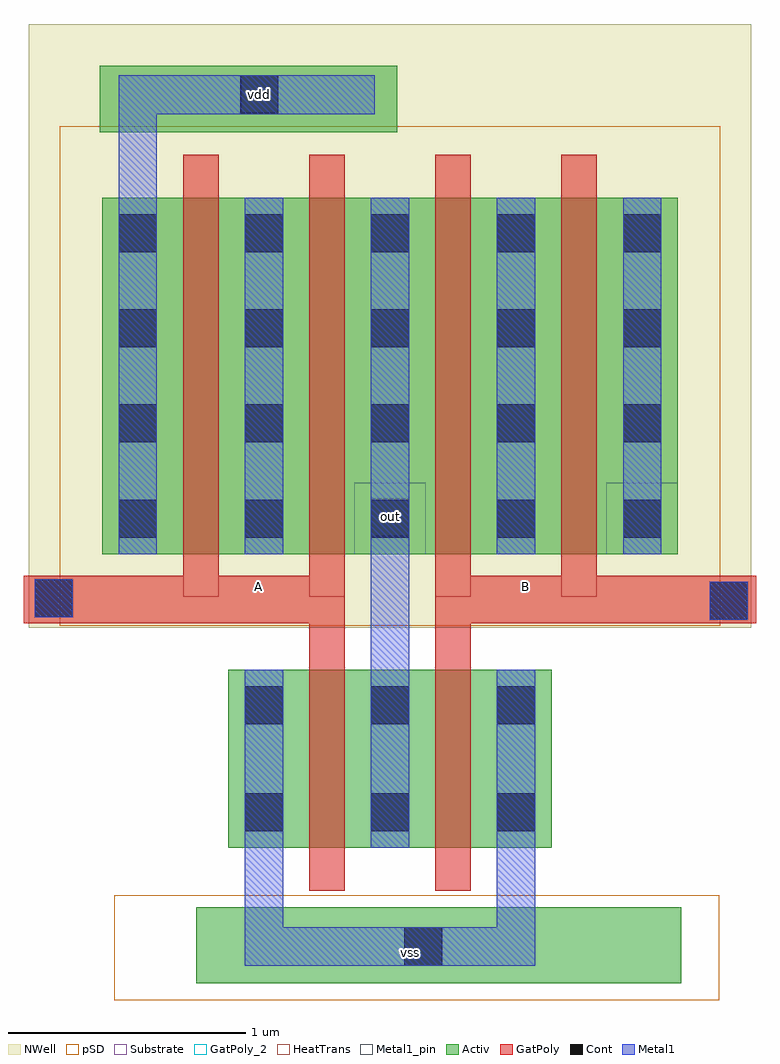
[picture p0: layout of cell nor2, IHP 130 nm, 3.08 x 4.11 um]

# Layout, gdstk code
import gdstk
lib = gdstk.Library(unit=1e-6, precision=5e-09)
def R(c, l, rs):  # rectangles x0, y0, x1, y1
    for r in rs: c.add(gdstk.rectangle(r[:2], r[2:], *l))
def A(c, l, x, y, w, h, nx, ny, dx, dy):  # array of equal rectangles
    R(c, l, [(x+i*dx, y+j*dy, x+i*dx+w, y+j*dy+h) for i in range(nx) for j in range(ny)])
Activ = (1, 0)
GatPoly = (5, 0)
GatPoly_2 = (5, 2)
Cont = (6, 0)
Metal1 = (8, 0)
Metal1_pin = (8, 2)
pSD = (14, 0)
NWell = (31, 0)
Substrate = (40, 0)
HeatTrans = (51, 0)

nmos_2 = lib.new_cell('nmos$2')
R(nmos_2, Activ, [(0,0,0.3,0.3), (0,0,0.83,0.75), (0.53,0,0.83,0.3)])
R(nmos_2, GatPoly, [(0.34,-0.18,0.49,0.93)])
R(nmos_2, GatPoly_2, [(0.34,-0.18,0.49,0.93)])
R(nmos_2, Cont, [(0.07,0.07,0.23,0.23), (0.6,0.07,0.76,0.23), (0.07,0.52,0.23,0.68), (0.6,0.52,0.76,0.68)])
R(nmos_2, Metal1, [(0.07,0,0.23,0.75), (0.6,0,0.76,0.75)])
R(nmos_2, Metal1_pin, [(0.07,0,0.23,0.75), (0.6,0,0.76,0.75)])
R(nmos_2, HeatTrans, [(0.34,-0.18,0.49,0.93)])
nmos_2.add(gdstk.Label('nmos', (0.415,0.375), layer=63, texttype=0))
nmos_2.add(gdstk.Label('nmos', (0.415,0.375), layer=51, texttype=0))

pmos = lib.new_cell('pmos')
A(pmos, Activ, 0, 0, 0.3, 0.3, 3, 1, 0.53, 0)
R(pmos, Activ, [(0,0,1.36,1.5)])
R(pmos, GatPoly, [(0.34,-0.18,0.49,1.68), (0.34,-0.18,0.49,1.68), (0.87,-0.18,1.02,1.68)])
A(pmos, Cont, 0.07, 0.07, 0.16, 0.16, 3, 4, 0.53, 0.4)
R(pmos, Metal1, [(0.07,0,0.23,1.5), (0.07,0,0.23,1.5), (0.6,0,0.76,1.5), (0.6,0,0.76,1.5), (1.13,0,1.29,1.5)])
R(pmos, pSD, [(-0.18,-0.3,1.54,1.8)])
R(pmos, NWell, [(-0.31,-0.31,1.67,1.81)])
R(pmos, Substrate, [(1.06,0,1.36,0.3)])
R(pmos, HeatTrans, [(0.34,-0.18,0.49,1.68), (0.87,-0.18,1.02,1.68)])
pmos.add(gdstk.Label('pmos', (0.415,0.75), layer=63, texttype=0))
pmos.add(gdstk.Label('pmos', (0.415,0.75), layer=51, texttype=0))
pmos.add(gdstk.Label('pmos', (0.945,0.75), layer=51, texttype=0))

nor2 = lib.new_cell('nor2')
R(nor2, Activ, [(-1.685,0.36,0.355,0.68), (-2.09,3.94,-0.84,4.22)])
R(nor2, GatPoly, [(-1.21,1.86,-1.06,2.13), (-0.68,1.86,-0.53,2.13), (-2.41,1.875,-1.21,2.075), (-0.68,1.875,0.67,2.075)])
R(nor2, Cont, [(-0.81,0.435,-0.65,0.595), (0.475,1.89,0.635,2.05), (-2.365,1.9,-2.205,2.06), (-1.5,4.02,-1.34,4.18)])
R(nor2, Metal1, [(-1.48,0.435,-1.32,1.16), (-1.48,0.435,-0.26,0.595), (-0.81,0.435,-0.65,0.595), (-0.42,0.435,-0.26,1.16), (-0.95,1.445,-0.79,2.39), (0.475,1.89,0.635,2.05), (-2.365,1.9,-2.205,2.06), (-2.01,3.44,-1.85,4.18), (-2.005,4.015,-0.935,4.18), (-1.5,4.02,-1.345,4.18)])
R(nor2, Metal1_pin, [(-0.81,0.435,-0.65,0.595), (0.475,1.89,0.635,2.05), (-2.365,1.9,-2.205,2.06), (-0.95,2.24,-0.79,2.4), (-1.495,4.02,-1.34,4.18)])
R(nor2, pSD, [(-2.03,0.29,0.515,0.73)])
R(nor2, NWell, [(-2.39,3.975,0.65,4.395)])
nor2.add(gdstk.Reference(nmos_2, (-1.02,0.93)))
nor2.add(gdstk.Reference(nmos_2, (-1.55,0.93)))
nor2.add(gdstk.Reference(pmos, (-2.08,2.165)))
nor2.add(gdstk.Reference(pmos, (-1.02,2.165)))
nor2.add(gdstk.Label('A', (-1.425,2.03), layer=8, texttype=2))
nor2.add(gdstk.Label('B', (-0.3,2.03), layer=8, texttype=2))
nor2.add(gdstk.Label('vss', (-0.785,0.49), layer=8, texttype=2))
nor2.add(gdstk.Label('vdd', (-1.42,4.1), layer=8, texttype=2))
nor2.add(gdstk.Label('out', (-0.87,2.325), layer=8, texttype=2))

lib.write_gds('nor2.gds')
